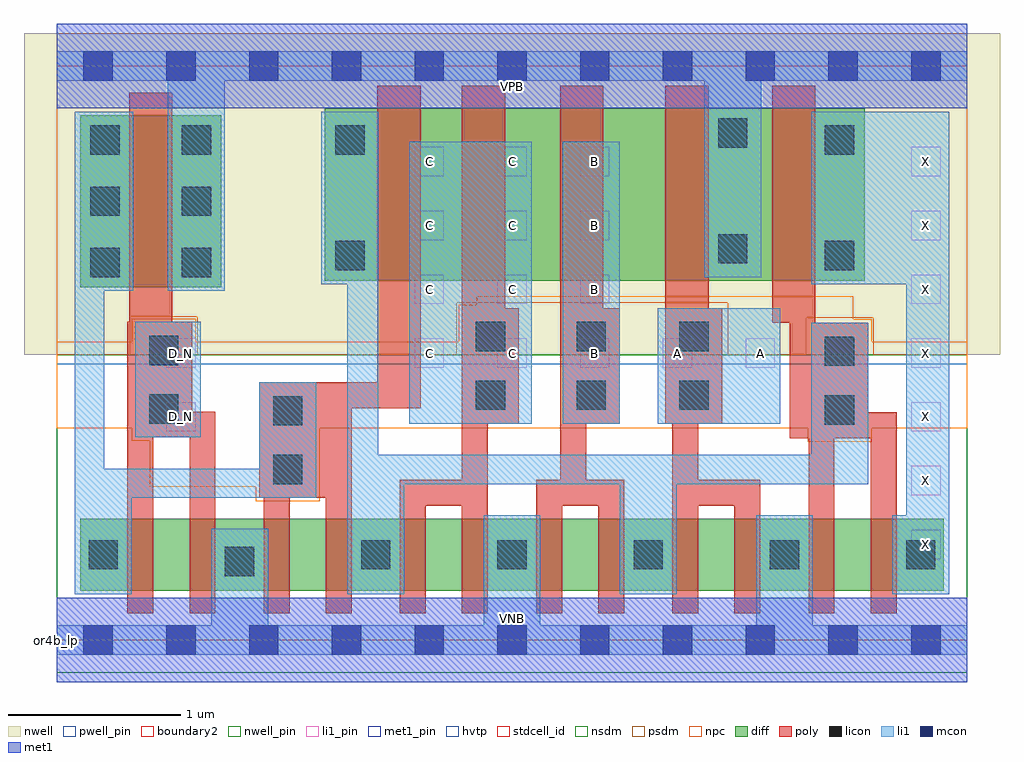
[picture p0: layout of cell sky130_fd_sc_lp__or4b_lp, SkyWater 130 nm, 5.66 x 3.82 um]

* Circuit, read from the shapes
.subckt sky130_fd_sc_lp__or4b_lp A B C D_N VGND VNB VPB VPWR X
XM1 n1 D_N n2 VNB sky130_fd_pr__nfet_01v8 w=0.42 l=0.15
XM2 VGND D_N n1 VNB sky130_fd_pr__nfet_01v8 w=0.42 l=0.15
XM3 n3 n2 VGND VNB sky130_fd_pr__nfet_01v8 w=0.42 l=0.15
XM4 n4 n2 n3 VNB sky130_fd_pr__nfet_01v8 w=0.42 l=0.15
XM5 n5 C n4 VNB sky130_fd_pr__nfet_01v8 w=0.42 l=0.15
XM6 VGND C n5 VNB sky130_fd_pr__nfet_01v8 w=0.42 l=0.15
XM7 n6 B VGND VNB sky130_fd_pr__nfet_01v8 w=0.42 l=0.15
XM8 n4 B n6 VNB sky130_fd_pr__nfet_01v8 w=0.42 l=0.15
XM9 n7 A n4 VNB sky130_fd_pr__nfet_01v8 w=0.42 l=0.15
XM10 VGND A n7 VNB sky130_fd_pr__nfet_01v8 w=0.42 l=0.15
XM11 n8 n4 VGND VNB sky130_fd_pr__nfet_01v8 w=0.42 l=0.15
XM12 X n4 n8 VNB sky130_fd_pr__nfet_01v8 w=0.42 l=0.15
XM13 VPWR D_N n2 VPB sky130_fd_pr__pfet_01v8_hvt w=1 l=0.25
XM14 n9 n2 n4 VPB sky130_fd_pr__pfet_01v8_hvt w=1 l=0.25
XM15 n10 C n9 VPB sky130_fd_pr__pfet_01v8_hvt w=1 l=0.25
XM16 n11 B n10 VPB sky130_fd_pr__pfet_01v8_hvt w=1 l=0.25
XM17 VPWR A n11 VPB sky130_fd_pr__pfet_01v8_hvt w=1 l=0.25
XM18 X n4 VPWR VPB sky130_fd_pr__pfet_01v8_hvt w=1 l=0.25
.ends

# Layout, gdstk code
import gdstk
lib = gdstk.Library(unit=1e-6, precision=1e-09)
def R(c, l, rs):  # rectangles x0, y0, x1, y1
    for r in rs: c.add(gdstk.rectangle(r[:2], r[2:], *l))
def A(c, l, x, y, w, h, nx, ny, dx, dy):  # array of equal rectangles
    R(c, l, [(x+i*dx, y+j*dy, x+i*dx+w, y+j*dy+h) for i in range(nx) for j in range(ny)])
def P(c, l, *ps):  # polygons
    for p in ps: c.add(gdstk.Polygon(p, *l))
nwell_pin = (64, 16)
nwell = (64, 20)
diff = (65, 20)
poly = (66, 20)
licon = (66, 44)
li1_pin = (67, 16)
li1 = (67, 20)
mcon = (67, 44)
met1_pin = (68, 16)
met1 = (68, 20)
hvtp = (78, 44)
stdcell_id = (81, 4)
nsdm = (93, 44)
psdm = (94, 20)
npc = (95, 20)
pwell_pin = (122, 16)
boundary2 = (236, 0)

sky130_fd_sc_lp__or4b_lp = lib.new_cell('sky130_fd_sc_lp__or4b_lp')
R(sky130_fd_sc_lp__or4b_lp, nwell_pin, [(0,3.085,5.28,3.33)])
R(sky130_fd_sc_lp__or4b_lp, nwell, [(-0.19,1.655,5.47,3.52)])
R(sky130_fd_sc_lp__or4b_lp, diff, [(0.135,0.285,5.145,0.705), (0.135,2.045,0.955,3.045), (1.555,2.085,4.685,3.085)])
P(sky130_fd_sc_lp__or4b_lp, poly, [(0.92,1.325),(0.785,1.325),(0.785,1.845),(0.67,1.845),(0.67,3.175),(0.42,3.175),(0.42,1.845),(0.41,1.845),(0.41,0.155),(0.56,0.155),(0.56,1.175),(0.77,1.175),(0.77,0.155),(0.92,0.155)],
  [(2.11,3.215),(1.86,3.215),(1.86,1.495),(1.175,1.495),(1.175,0.825),(1.2,0.825),(1.2,0.155),(1.35,0.155),(1.35,0.825),(1.56,0.825),(1.56,0.155),(1.71,0.155),(1.71,1.345),(2.11,1.345)],
  [(2.68,1.925),(2.6,1.925),(2.6,3.215),(2.35,3.215),(2.35,0.93),(1.99,0.93),(1.99,0.155),(2.14,0.155),(2.14,0.78),(2.35,0.78),(2.35,0.155),(2.5,0.155),(2.5,1.255),(2.68,1.255)],
  [(3.29,0.93),(3.07,0.93),(3.07,1.255),(3.265,1.255),(3.265,1.925),(3.17,1.925),(3.17,3.215),(2.92,3.215),(2.92,0.93),(2.78,0.93),(2.78,0.155),(2.93,0.155),(2.93,0.78),(3.14,0.78),(3.14,0.155),(3.29,0.155)],
  [(4.08,0.93),(3.72,0.93),(3.72,1.255),(3.86,1.255),(3.86,1.925),(3.78,1.925),(3.78,3.215),(3.53,3.215),(3.53,1.255),(3.57,1.255),(3.57,0.155),(3.72,0.155),(3.72,0.78),(3.93,0.78),(3.93,0.155),(4.08,0.155)],
  [(4.87,1.32),(4.705,1.32),(4.705,1.84),(4.4,1.84),(4.4,3.215),(4.15,3.215),(4.15,1.84),(4.25,1.84),(4.25,1.17),(4.36,1.17),(4.36,0.155),(4.51,0.155),(4.51,1.17),(4.72,1.17),(4.72,0.155),(4.87,0.155)])
A(sky130_fd_sc_lp__or4b_lp, licon, 1.765, 0.41, 0.17, 0.17, 5, 1, 0.79, 0)
A(sky130_fd_sc_lp__or4b_lp, licon, 0.195, 2.105, 0.17, 0.17, 1, 3, 0, 0.355)
A(sky130_fd_sc_lp__or4b_lp, licon, 0.725, 2.105, 0.17, 0.17, 1, 3, 0, 0.355)
R(sky130_fd_sc_lp__or4b_lp, licon, [(0.975,0.37,1.145,0.54), (0.185,0.41,0.355,0.58), (1.255,0.905,1.425,1.075), (1.255,1.245,1.425,1.415), (4.455,1.25,4.625,1.42), (0.535,1.255,0.705,1.425), (2.43,1.335,2.6,1.505), (3.015,1.335,3.185,1.505), (3.61,1.335,3.78,1.505), (4.455,1.59,4.625,1.76), (0.535,1.595,0.705,1.765), (2.43,1.675,2.6,1.845), (3.015,1.675,3.185,1.845), (3.61,1.675,3.78,1.845), (1.615,2.145,1.785,2.315), (4.455,2.145,4.625,2.315), (3.835,2.185,4.005,2.355), (1.615,2.815,1.785,2.985), (4.455,2.815,4.625,2.985), (3.835,2.855,4.005,3.025)])
A(sky130_fd_sc_lp__or4b_lp, li1_pin, 4.955, 0.47, 0.17, 0.17, 1, 7, 0, 0.37)
A(sky130_fd_sc_lp__or4b_lp, li1_pin, 2.075, 1.58, 0.17, 0.17, 5, 1, 0.48, 0)
A(sky130_fd_sc_lp__or4b_lp, li1_pin, 2.075, 1.95, 0.17, 0.17, 3, 3, 0.48, 0.37)
R(sky130_fd_sc_lp__or4b_lp, li1_pin, [(0.635,1.21,0.805,1.38), (0.635,1.58,0.805,1.75)])
R(sky130_fd_sc_lp__or4b_lp, li1, [(0.455,1.175,0.835,1.845), (2.045,1.255,2.755,2.89), (2.935,1.255,3.265,2.89), (3.485,1.255,4.195,1.925)])
P(sky130_fd_sc_lp__or4b_lp, li1, [(0.645,2.025),(0.645,3.245),(0,3.245),(0,3.415),(5.28,3.415),(5.28,3.245),(4.085,3.245),(4.085,2.105),(3.755,2.105),(3.755,3.245),(0.975,3.245),(0.975,2.025)],
  [(4.055,0.085),(4.055,0.725),(4.385,0.725),(4.385,0.085),(5.28,0.085),(5.28,-0.085),(0,-0.085),(0,0.085),(0.895,0.085),(0.895,0.645),(1.225,0.645),(1.225,0.085),(2.475,0.085),(2.475,0.725),(2.805,0.725),(2.805,0.085)],
  [(1.865,1.075),(4.375,1.075),(4.375,1.84),(4.705,1.84),(4.705,0.905),(3.595,0.905),(3.595,0.265),(3.265,0.265),(3.265,0.905),(2.015,0.905),(2.015,0.265),(1.685,0.265),(1.685,2.065),(1.535,2.065),(1.535,3.065),(1.865,3.065)],
  [(0.105,3.065),(0.445,3.065),(0.445,2.025),(0.275,2.025),(0.275,0.995),(1.175,0.995),(1.175,1.495),(1.505,1.495),(1.505,0.825),(0.435,0.825),(0.435,0.265),(0.105,0.265)],
  [(4.375,2.065),(4.375,3.065),(5.175,3.065),(5.175,0.265),(4.845,0.265),(4.845,0.725),(4.925,0.725),(4.925,2.065)])
A(sky130_fd_sc_lp__or4b_lp, mcon, 0.155, -0.085, 0.17, 0.17, 11, 2, 0.48, 3.33)
R(sky130_fd_sc_lp__or4b_lp, met1_pin, [(0,0,5.28,0.245), (0,3.085,5.28,3.33)])
R(sky130_fd_sc_lp__or4b_lp, met1, [(0,-0.245,5.28,0.245), (0,3.085,5.28,3.575)])
R(sky130_fd_sc_lp__or4b_lp, hvtp, [(0,1.6,5.28,3.33)])
R(sky130_fd_sc_lp__or4b_lp, stdcell_id, [(0,0,5.28,3.33)])
R(sky130_fd_sc_lp__or4b_lp, nsdm, [(0,-0.19,5.28,1.655)])
P(sky130_fd_sc_lp__or4b_lp, psdm, [(5.28,3.52),(0,3.52),(0,1.655),(0.425,1.655),(0.425,1.875),(0.815,1.875),(0.815,1.655),(2.32,1.655),(2.32,1.955),(3.89,1.955),(3.89,1.655),(4.345,1.655),(4.345,1.87),(4.735,1.87),(4.735,1.655),(5.28,1.655)])
P(sky130_fd_sc_lp__or4b_lp, npc, [(5.28,1.73),(4.725,1.73),(4.725,1.86),(4.62,1.86),(4.62,1.995),(2.435,1.995),(2.435,1.945),(2.33,1.945),(2.33,1.73),(0.805,1.73),(0.805,1.865),(0.435,1.865),(0.435,1.73),(0,1.73),(0,1.23),(0.435,1.23),(0.435,1.155),(0.54,1.155),(0.54,0.89),(1.155,0.89),(1.155,0.805),(1.525,0.805),(1.525,1.23),(4.355,1.23),(4.355,1.15),(4.725,1.15),(4.725,1.23),(5.28,1.23)])
R(sky130_fd_sc_lp__or4b_lp, pwell_pin, [(0,0,5.28,0.245)])
R(sky130_fd_sc_lp__or4b_lp, boundary2, [(0,0,5.28,3.33)])
sky130_fd_sc_lp__or4b_lp.add(gdstk.Label('VNB', (2.64,0.123), layer=64, texttype=59))
sky130_fd_sc_lp__or4b_lp.add(gdstk.Label('VPB', (2.64,3.208), layer=64, texttype=5))
sky130_fd_sc_lp__or4b_lp.add(gdstk.Label('or4b_lp', (0,0), layer=83, texttype=44))
sky130_fd_sc_lp__or4b_lp.add(gdstk.Label('VPWR', (2.64,3.208), layer=68, texttype=5))
sky130_fd_sc_lp__or4b_lp.add(gdstk.Label('VGND', (2.64,0.123), layer=68, texttype=5))
sky130_fd_sc_lp__or4b_lp.add(gdstk.Label('D_N', (0.72,1.295), layer=67, texttype=5))
sky130_fd_sc_lp__or4b_lp.add(gdstk.Label('D_N', (0.72,1.665), layer=67, texttype=5))
sky130_fd_sc_lp__or4b_lp.add(gdstk.Label('C', (2.16,1.665), layer=67, texttype=5))
sky130_fd_sc_lp__or4b_lp.add(gdstk.Label('C', (2.16,2.035), layer=67, texttype=5))
sky130_fd_sc_lp__or4b_lp.add(gdstk.Label('C', (2.16,2.405), layer=67, texttype=5))
sky130_fd_sc_lp__or4b_lp.add(gdstk.Label('C', (2.16,2.775), layer=67, texttype=5))
sky130_fd_sc_lp__or4b_lp.add(gdstk.Label('C', (2.64,1.665), layer=67, texttype=5))
sky130_fd_sc_lp__or4b_lp.add(gdstk.Label('C', (2.64,2.035), layer=67, texttype=5))
sky130_fd_sc_lp__or4b_lp.add(gdstk.Label('C', (2.64,2.405), layer=67, texttype=5))
sky130_fd_sc_lp__or4b_lp.add(gdstk.Label('C', (2.64,2.775), layer=67, texttype=5))
sky130_fd_sc_lp__or4b_lp.add(gdstk.Label('B', (3.12,1.665), layer=67, texttype=5))
sky130_fd_sc_lp__or4b_lp.add(gdstk.Label('B', (3.12,2.035), layer=67, texttype=5))
sky130_fd_sc_lp__or4b_lp.add(gdstk.Label('B', (3.12,2.405), layer=67, texttype=5))
sky130_fd_sc_lp__or4b_lp.add(gdstk.Label('B', (3.12,2.775), layer=67, texttype=5))
sky130_fd_sc_lp__or4b_lp.add(gdstk.Label('A', (3.6,1.665), layer=67, texttype=5))
sky130_fd_sc_lp__or4b_lp.add(gdstk.Label('A', (4.08,1.665), layer=67, texttype=5))
sky130_fd_sc_lp__or4b_lp.add(gdstk.Label('X', (5.04,0.555), layer=67, texttype=5))
sky130_fd_sc_lp__or4b_lp.add(gdstk.Label('X', (5.04,0.925), layer=67, texttype=5))
sky130_fd_sc_lp__or4b_lp.add(gdstk.Label('X', (5.04,1.295), layer=67, texttype=5))
sky130_fd_sc_lp__or4b_lp.add(gdstk.Label('X', (5.04,1.665), layer=67, texttype=5))
sky130_fd_sc_lp__or4b_lp.add(gdstk.Label('X', (5.04,2.035), layer=67, texttype=5))
sky130_fd_sc_lp__or4b_lp.add(gdstk.Label('X', (5.04,2.405), layer=67, texttype=5))
sky130_fd_sc_lp__or4b_lp.add(gdstk.Label('X', (5.04,2.775), layer=67, texttype=5))

lib.write_gds('sky130_fd_sc_lp__or4b_lp.gds')
